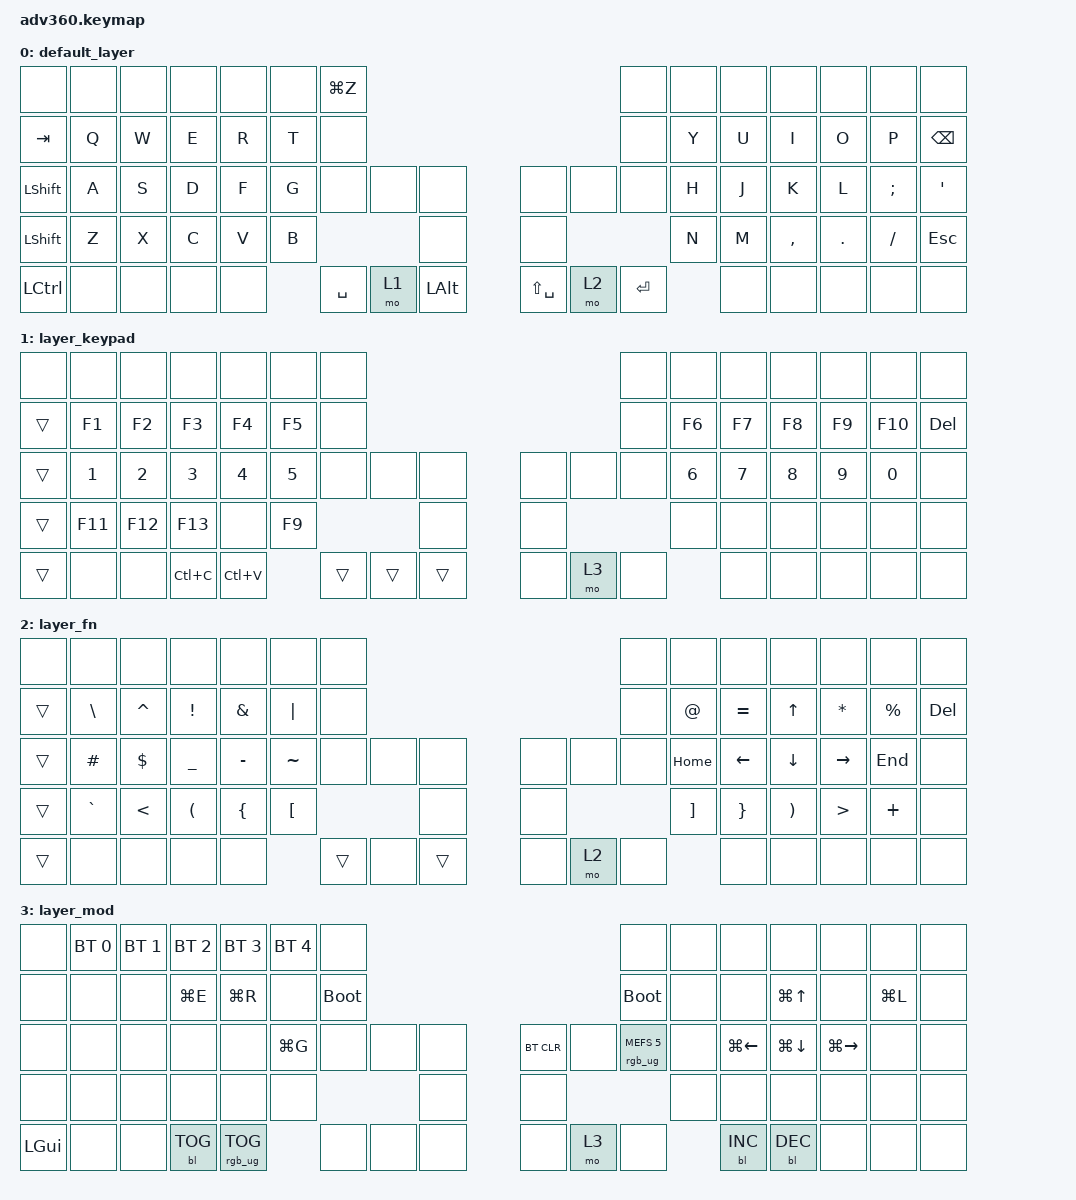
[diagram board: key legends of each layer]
/*
 * Copyright (c) 2020 The ZMK Contributors
 *
 * SPDX-License-Identifier: MIT
 */
/* THIS FILE WAS GENERATED!
 *
 * This file was generated automatically. You may or may not want to
 * edit it directly.
 */

#include <behaviors.dtsi>
#include <dt-bindings/zmk/backlight.h>
#include <dt-bindings/zmk/bt.h>
#include <dt-bindings/zmk/keys.h>
#include <dt-bindings/zmk/rgb.h>

/ {
    behaviors {
        #include "macros.dtsi"
    #include "version.dtsi"

        hm: homerow_mods {
            compatible = "zmk,behavior-hold-tap";
            label = "HOMEROW_MODS";
            #binding-cells = <2>;
            tapping-term-ms = <200>;
            quick_tap_ms = <175>;
            flavor = "tap-preferred";
            bindings = <&kp>, <&kp>;
        };
    };

    keymap {
        compatible = "zmk,keymap";

        default_layer {
            bindings = <
&none       &none  &none  &none  &none  &none  &kp LG(Z)                                                 &none      &none  &none  &none      &none    &none     &none
&kp TAB     &kp Q  &kp W  &kp E  &kp R  &kp T  &none                                                     &none      &kp Y  &kp U  &kp I      &kp O    &kp P     &kp BACKSPACE
&kp LSHIFT  &kp A  &kp S  &kp D  &kp F  &kp G  &none      &none  &none             &none          &none  &none      &kp H  &kp J  &kp K      &kp L    &kp SEMI  &kp SQT
&kp LSHIFT  &kp Z  &kp X  &kp C  &kp V  &kp B                    &none             &none                            &kp N  &kp M  &kp COMMA  &kp DOT  &kp FSLH  &kp ESC
&kp LCTRL   &none  &none  &none  &none         &kp SPACE  &mo 1  &kp LEFT_ALT      &kp LS(SPACE)  &mo 2  &kp ENTER         &none  &none      &none    &none     &none
            >;
        };

        layer_keypad {
            bindings = <
&none   &none    &none    &none      &none      &none   &none                                     &none  &none   &none   &none   &none   &none    &none
&trans  &kp F1   &kp F2   &kp F3     &kp F4     &kp F5  &none                                     &none  &kp F6  &kp F7  &kp F8  &kp F9  &kp F10  &kp DEL
&trans  &kp N1   &kp N2   &kp N3     &kp N4     &kp N5  &none   &none   &none       &none  &none  &none  &kp N6  &kp N7  &kp N8  &kp N9  &kp N0   &none
&trans  &kp F11  &kp F12  &kp F13    &none      &kp F9                  &none       &none                &none   &none   &none   &none   &none    &none
&trans  &none    &none    &kp LC(C)  &kp LC(V)          &trans  &trans  &trans      &none  &mo 3  &none          &none   &none   &none   &none    &none
            >;
        };

        layer_fn {
            bindings = <
&none   &none          &none          &none                 &none           &none             &none                                    &none  &none              &none            &none                  &none             &none        &none
&trans  &kp BACKSLASH  &kp CARET      &kp EXCLAMATION       &kp AMPERSAND   &kp PIPE          &none                                    &none  &kp AT_SIGN        &kp EQUAL        &kp UP_ARROW           &kp ASTERISK      &kp PERCENT  &kp DEL
&trans  &kp HASH       &kp DOLLAR     &kp UNDERSCORE        &kp MINUS       &kp TILDE         &none   &none  &none       &none  &none  &none  &kp HOME           &kp LEFT_ARROW   &kp DOWN_ARROW         &kp RIGHT_ARROW   &kp END      &none
&trans  &kp GRAVE      &kp LESS_THAN  &kp LEFT_PARENTHESIS  &kp LEFT_BRACE  &kp LEFT_BRACKET                 &none       &none                &kp RIGHT_BRACKET  &kp RIGHT_BRACE  &kp RIGHT_PARENTHESIS  &kp GREATER_THAN  &kp PLUS     &none
&trans  &none          &none          &none                 &none                             &trans  &none  &trans      &none  &mo 2  &none                     &none            &none                  &none             &none        &none
            >;
        };

        layer_mod {
            bindings = <
&none         &bt BT_SEL 0  &bt BT_SEL 1  &bt BT_SEL 2  &bt BT_SEL 3     &bt BT_SEL 4  &none                                             &none                   &none  &none               &none               &none                &none      &none
&none         &none         &none         &kp LG(E)     &kp LG(R)        &none         &bootloader                                       &bootloader             &none  &none               &kp LG(UP_ARROW)    &none                &kp LG(L)  &none
&none         &none         &none         &none         &none            &kp LG(G)     &none        &none  &none      &bt BT_CLR  &none  &rgb_ug RGB_MEFS_CMD 5  &none  &kp LG(LEFT_ARROW)  &kp LG(DOWN_ARROW)  &kp LG(RIGHT_ARROW)  &none      &none
&none         &none         &none         &none         &none            &none                             &none      &none                                      &none  &none               &none               &none                &none      &none
&kp LEFT_GUI  &none         &none         &bl BL_TOG    &rgb_ug RGB_TOG                &none        &none  &none      &none       &mo 3  &none                          &bl BL_INC          &bl BL_DEC          &none                &none      &none
            >;
        };
    };
};
